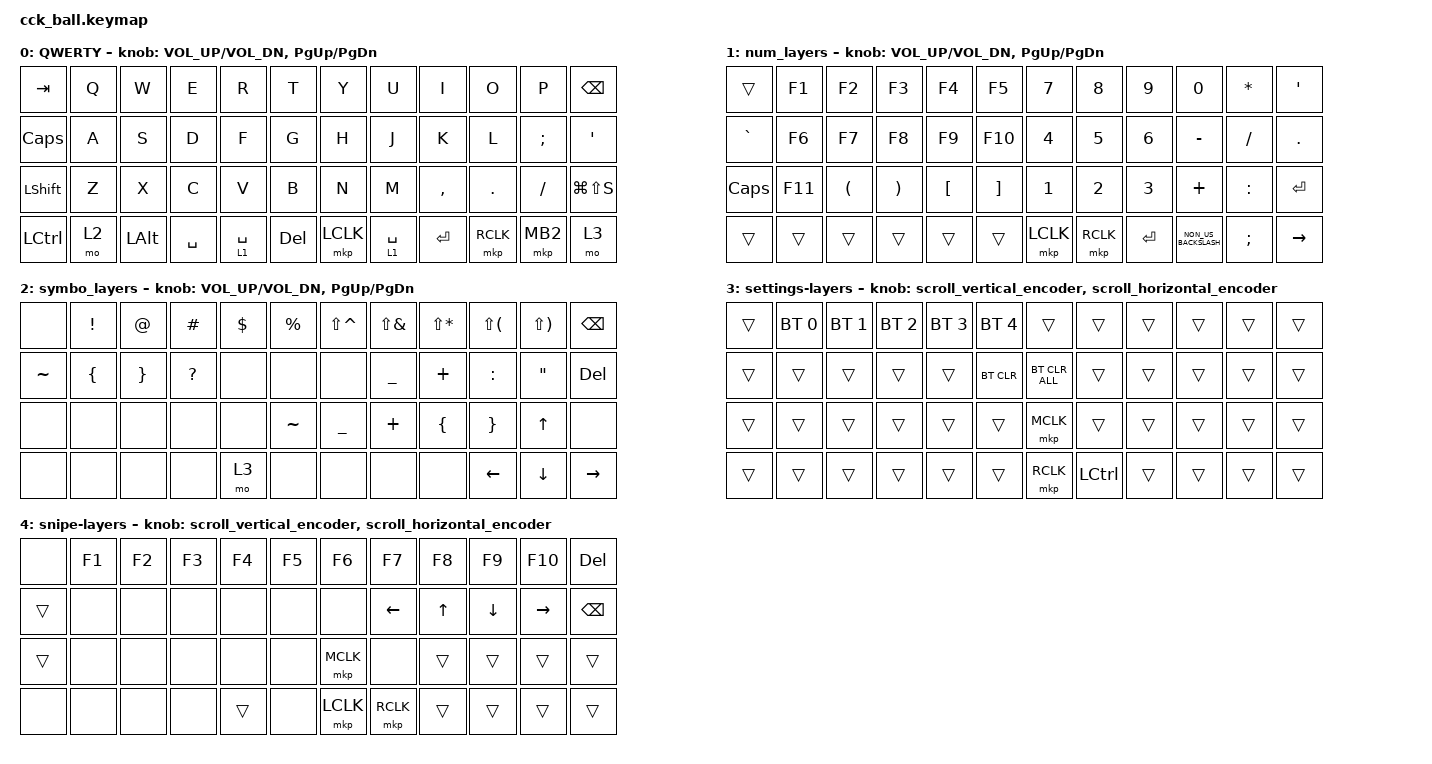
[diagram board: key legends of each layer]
#define ZMK_POINTING_DEFAULT_MOVE_VAL 1000 // 600
#define ZMK_POINTING_DEFAULT_SCRL_VAL 12   // 10

#include <input/processors.dtsi>
#include <zephyr/dt-bindings/input/input-event-codes.h>
#include <behaviors.dtsi>
#include <dt-bindings/zmk/bt.h>
#include <dt-bindings/zmk/keys.h>
#include <dt-bindings/zmk/pointing.h>

&mmv_input_listener { input-processors = <&zip_xy_scaler 2 1>; };

&msc_input_listener { input-processors = <&zip_scroll_scaler 2 1>; };

&msc {
    acceleration-exponent = <0>;      // 0
    time-to-max-speed-ms = <300>;       // 300
    delay-ms = <0>;                   // 0
};

&mmv {
    time-to-max-speed-ms = <500>;
    acceleration-exponent = <1>;
    trigger-period-ms = <16>;
};

&soft_off { hold-time-ms = <2000>; };

/ {
    // 上下滚动编码器行为

    scroll_vertical_encoder: scroll_vertical_encoder {
        compatible = "zmk,behavior-sensor-rotate";
        #sensor-binding-cells = <0>;
        bindings = <&msc SCRL_DOWN>, <&msc SCRL_UP>;

        tap-ms = <100>;
    };

    // 左右滚动编码器行为

    scroll_horizontal_encoder: scroll_horizontal_encoder {
        compatible = "zmk,behavior-sensor-rotate";
        #sensor-binding-cells = <0>;
        bindings = <&msc SCRL_LEFT>, <&msc SCRL_RIGHT>;

        tap-ms = <100>;
    };

    behaviors {
    };

    keymap {
        compatible = "zmk,keymap";

        QWERTY {
            bindings = <
&kp TAB           &kp Q  &kp W         &kp E      &kp R        &kp T       &kp Y      &kp U        &kp I      &kp O      &kp P          &kp BACKSPACE
&kp CAPSLOCK      &kp A  &kp S         &kp D      &kp F        &kp G       &kp H      &kp J        &kp K      &kp L      &kp SEMICOLON  &kp SQT
&kp LEFT_SHIFT    &kp Z  &kp X         &kp C      &kp V        &kp B       &kp N      &kp M        &kp COMMA  &kp DOT    &kp SLASH      &kp LG(LS(S))
&kp LEFT_CONTROL  &mo 2  &kp LEFT_ALT  &kp SPACE  &lt 1 SPACE  &kp DELETE  &mkp LCLK  &lt 1 SPACE  &kp ENTER  &mkp RCLK  &mkp MB2       &mo 3
            >;

            sensor-bindings = <&inc_dec_kp C_VOL_UP C_VOL_DN &inc_dec_kp PG_UP PG_DN>;
        };

        num_layers {
            bindings = <
&trans     &kp F1   &kp F2                &kp F3                 &kp F4            &kp F5             &kp NUMBER_7  &kp NUMBER_8  &kp NUMBER_9  &kp NUMBER_0          &kp ASTERISK   &kp SQT
&kp GRAVE  &kp F6   &kp F7                &kp F8                 &kp F9            &kp F10            &kp NUMBER_4  &kp NUMBER_5  &kp NUMBER_6  &kp MINUS             &kp SLASH      &kp PERIOD
&kp CAPS   &kp F11  &kp LEFT_PARENTHESIS  &kp RIGHT_PARENTHESIS  &kp LEFT_BRACKET  &kp RIGHT_BRACKET  &kp NUMBER_1  &kp NUMBER_2  &kp NUMBER_3  &kp PLUS              &kp COLON      &kp ENTER
&trans     &trans   &trans                &trans                 &trans            &trans             &mkp LCLK     &mkp RCLK     &kp ENTER     &kp NON_US_BACKSLASH  &kp SEMICOLON  &kp RIGHT
            >;

            sensor-bindings = <&inc_dec_kp C_VOL_UP C_VOL_DN &inc_dec_kp PG_UP PG_DN>;
        };

        symbo_layers {
            bindings = <
&none      &kp EXCL  &kp AT    &kp HASH      &kp DOLLAR  &kp PERCENT  &kp LS(CARET)  &kp LS(AMPS)  &kp LS(STAR)    &kp LS(LPAR)  &kp LS(RPAR)  &kp BACKSPACE
&kp TILDE  &kp LBRC  &kp RBRC  &kp QUESTION  &none       &none        &none          &kp UNDER     &kp PLUS        &kp COLON     &kp DQT       &kp DELETE
&none      &none     &none     &none         &none       &kp TILDE    &kp UNDER      &kp PLUS      &kp LEFT_BRACE  &kp RBRC      &kp UP_ARROW  &none
&none      &none     &none     &none         &mo 3       &none        &none          &none         &none           &kp LEFT      &kp DOWN      &kp RIGHT
            >;

            sensor-bindings = <&inc_dec_kp C_VOL_UP C_VOL_DN &inc_dec_kp PG_UP PG_DN>;
        };

        settings-layers {
            bindings = <
&trans  &bt BT_SEL 0  &bt BT_SEL 1  &bt BT_SEL 2  &bt BT_SEL 3  &bt BT_SEL 4  &trans          &trans     &trans  &trans  &trans  &trans
&trans  &trans        &trans        &trans        &trans        &bt BT_CLR    &bt BT_CLR_ALL  &trans     &trans  &trans  &trans  &trans
&trans  &trans        &trans        &trans        &trans        &trans        &mkp MCLK       &trans     &trans  &trans  &trans  &trans
&trans  &trans        &trans        &trans        &trans        &trans        &mkp RCLK       &kp LCTRL  &trans  &trans  &trans  &trans
            >;

            sensor-bindings =
                <&scroll_vertical_encoder>,
                // 编码器1：上下滚动,,
                <&scroll_horizontal_encoder>;

            // 编码器2：左右滚动
        };

        snipe-layers {
            bindings = <
&none   &kp F1  &kp F2  &kp F3  &kp F4  &kp F5  &kp F6     &kp F7     &kp F8  &kp F9    &kp F10    &kp DEL
&trans  &none   &none   &none   &none   &none   &none      &kp LEFT   &kp UP  &kp DOWN  &kp RIGHT  &kp BSPC
&trans  &none   &none   &none   &none   &none   &mkp MCLK  &none      &trans  &trans    &trans     &trans
&none   &none   &none   &none   &trans  &none   &mkp LCLK  &mkp RCLK  &trans  &trans    &trans     &trans
            >;

            sensor-bindings =
                <&scroll_vertical_encoder>,
                // 编码器1：上下滚动,,
                <&scroll_horizontal_encoder>;

            // 编码器2：左右滚动
        };
    };
};
